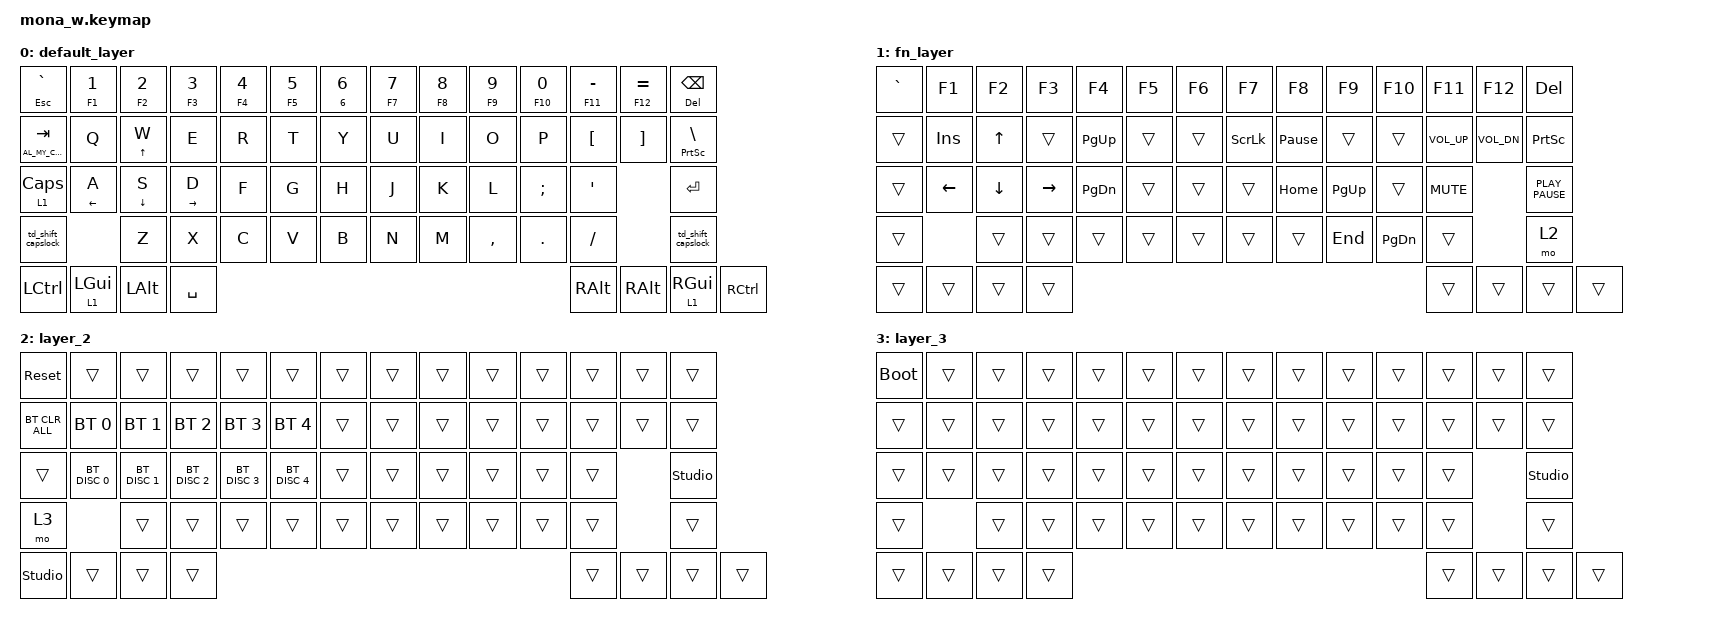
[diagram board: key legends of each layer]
/*
 * Copyright (c) 2023 Ramon Imbao
 *
 * SPDX-License-Identifier: MIT
 */

#include <behaviors.dtsi>
#include <dt-bindings/zmk/bt.h>
#include <dt-bindings/zmk/keys.h>

&mt {
    tapping-term-ms = <600>;
    quick-tap-ms = <0>;
    require-prior-idle-ms = <125>;
};

/ {
    behaviors {
        ht: hold_tap {
            compatible = "zmk,behavior-hold-tap";
            #binding-cells = <2>;
            tapping-term-ms = <400>;
            bindings = <&kp>, <&kp>;

            quick-tap-ms = <100>;
            require-prior-idle-ms = <0>;
            flavor = "tap-preferred";
        };

        td_shift_capslock: td_shift_capslock {
            compatible = "zmk,behavior-tap-dance";
            label = "TD_SHIFT_CAPSLOCK";
            #binding-cells = <0>;
            tapping-term-ms = <200>;
            bindings = <&kp LEFT_SHIFT>, <&kp CAPSLOCK>;
        };
    };

    keymap {
        compatible = "zmk,keymap";

        default_layer {
            bindings = <
&ht ESC GRAVE             &ht F1 N1         &ht F2 N2         &ht F3 N3          &ht F4 NUMBER_4  &ht F5 N5  &ht N6 N6  &ht F7 N7  &ht F8 N8  &ht F9 N9  &ht F10 N0  &ht F11 MINUS  &ht F12 EQUAL  &ht DELETE BACKSPACE
&ht C_AL_MY_COMPUTER TAB  &kp Q             &ht UP_ARROW W    &kp E              &kp R            &kp T      &kp Y      &kp U      &kp I      &kp O      &kp P       &kp LBKT       &kp RBKT                             &ht PRINTSCREEN BACKSLASH
&lt 1 CAPSLOCK            &ht LEFT_ARROW A  &ht DOWN_ARROW S  &ht RIGHT_ARROW D  &kp F            &kp G      &kp H      &kp J      &kp K      &kp L      &kp SEMI    &kp APOS                      &kp ENTER
&td_shift_capslock                          &kp Z             &kp X              &kp C            &kp V      &kp B      &kp N      &kp M      &kp COMMA  &kp DOT     &kp SLASH                     &td_shift_capslock
&kp LCTRL                 &lt 1 LEFT_GUI    &kp LALT                                                                               &kp SPACE             &kp RALT    &kp RALT                      &lt 1 RIGHT_GUI       &kp RCTRL
            >;
        };

        fn_layer {
            bindings = <
&kp GRAVE  &kp F1          &kp F2          &kp F3           &kp F4     &kp F5  &kp F6  &kp F7    &kp F8           &kp F9     &kp F10    &kp F11          &kp F12       &kp DELETE
&trans     &kp INS         &kp UP_ARROW    &trans           &kp PG_UP  &trans  &trans  &kp SLCK  &kp PAUSE_BREAK  &trans     &trans     &kp C_VOLUME_UP  &kp C_VOL_DN                    &kp PRINTSCREEN
&trans     &kp LEFT_ARROW  &kp DOWN_ARROW  &kp RIGHT_ARROW  &kp PG_DN  &trans  &trans  &trans    &kp HOME         &kp PG_UP  &trans     &kp C_MUTE                     &kp K_PLAY_PAUSE
&trans                     &trans          &trans           &trans     &trans  &trans  &trans    &trans           &kp END    &kp PG_DN  &trans                         &mo 2
&trans     &trans          &trans                                                                &trans                      &trans     &trans                         &trans            &trans
            >;
        };

        layer_2 {
            bindings = <
&sys_reset      &trans         &trans         &trans         &trans         &trans         &trans  &trans  &trans  &trans  &trans  &trans  &trans  &trans
&bt BT_CLR_ALL  &bt BT_SEL 0   &bt BT_SEL 1   &bt BT_SEL 2   &bt BT_SEL 3   &bt BT_SEL 4   &trans  &trans  &trans  &trans  &trans  &trans  &trans                  &trans
&trans          &bt BT_DISC 0  &bt BT_DISC 1  &bt BT_DISC 2  &bt BT_DISC 3  &bt BT_DISC 4  &trans  &trans  &trans  &trans  &trans  &trans          &studio_unlock
&mo 3                          &trans         &trans         &trans         &trans         &trans  &trans  &trans  &trans  &trans  &trans          &trans
&studio_unlock  &trans         &trans                                                                      &trans          &trans  &trans          &trans          &trans
            >;
        };

        layer_3 {
            bindings = <
&bootloader  &trans  &trans  &trans  &trans  &trans  &trans  &trans  &trans  &trans  &trans  &trans  &trans  &trans
&trans       &trans  &trans  &trans  &trans  &trans  &trans  &trans  &trans  &trans  &trans  &trans  &trans                  &trans
&trans       &trans  &trans  &trans  &trans  &trans  &trans  &trans  &trans  &trans  &trans  &trans          &studio_unlock
&trans               &trans  &trans  &trans  &trans  &trans  &trans  &trans  &trans  &trans  &trans          &trans
&trans       &trans  &trans                                          &trans          &trans  &trans          &trans          &trans
            >;
        };
    };
};
